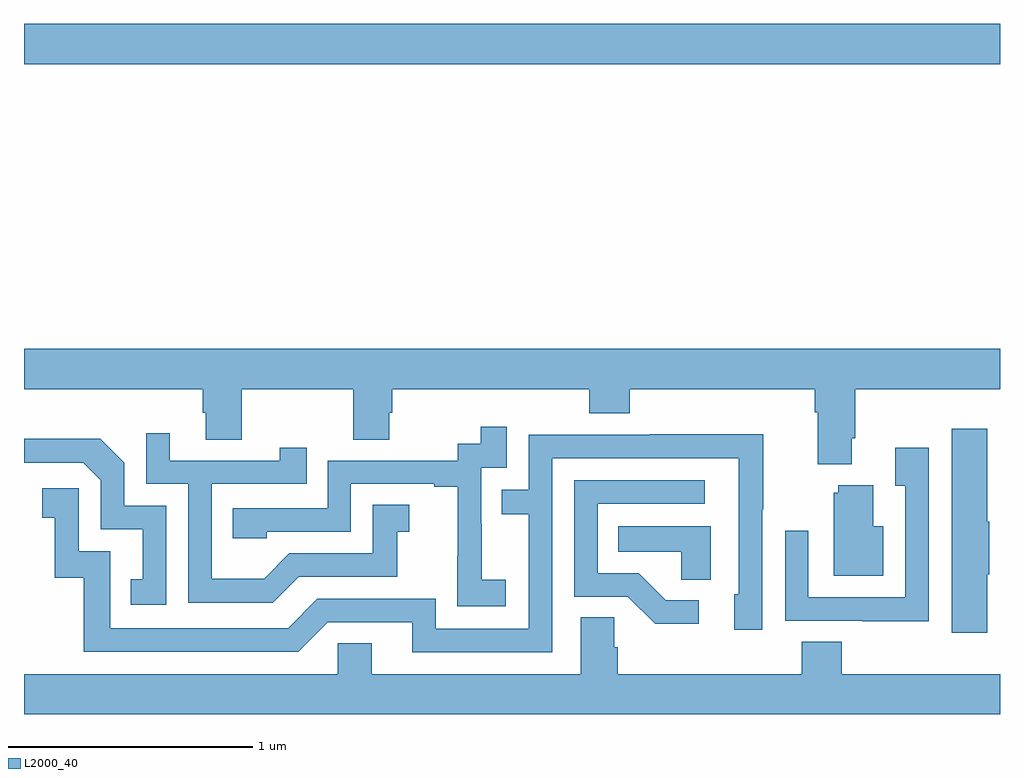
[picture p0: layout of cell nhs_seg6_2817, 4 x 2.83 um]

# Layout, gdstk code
import gdstk
lib = gdstk.Library(unit=1e-6, precision=1e-09)
def R(c, l, rs):  # rectangles x0, y0, x1, y1
    for r in rs: c.add(gdstk.rectangle(r[:2], r[2:], *l))
def P(c, l, *ps):  # polygons
    for p in ps: c.add(gdstk.Polygon(p, *l))
L2000_40 = (2000, 40)

nhs_seg6_2817 = lib.new_cell('nhs_seg6_2817')
R(nhs_seg6_2817, L2000_40, [(277,952.664,281,952.828)])
P(nhs_seg6_2817, L2000_40, [(280.393,951.13),(280.406,951.13),(280.406,951.332),(281,951.332),(281,951.496),(277,951.496),(277,951.332),(277.733,951.332),(277.733,951.234),(277.745,951.234),(277.745,951.124),(277.893,951.124),(277.893,951.332),(278.35,951.332),(278.35,951.124),(278.497,951.124),(278.497,951.234),(278.51,951.234),(278.51,951.332),(279.317,951.332),(279.317,951.233),(279.482,951.233),(279.482,951.332),(280.241,951.332),(280.241,951.236),(280.253,951.236),(280.253,951.023),(280.393,951.023)],
  [(278.974,950.551),(278.876,950.551),(278.876,950.78),(278.874,950.78),(278.874,951.009),(278.979,951.009),(278.979,951.178),(278.871,951.178),(278.871,951.108),(278.778,951.108),(278.778,951.039),(278.244,951.039),(278.244,950.844),(277.855,950.844),(277.855,950.721),(277.995,950.721),(277.995,950.748),(278.34,950.748),(278.34,950.943),(278.681,950.943),(278.681,950.931),(278.777,950.931),(278.777,950.647),(278.776,950.647),(278.776,950.441),(278.974,950.441)],
  [(280.948,950.572),(280.956,950.572),(280.956,950.789),(280.948,950.789),(280.948,951.169),(280.802,951.169),(280.802,950.334),(280.948,950.334)],
  [(278.125,950.562),(278.529,950.562),(278.529,950.747),(278.578,950.747),(278.578,950.857),(278.43,950.857),(278.43,950.658),(278.088,950.658),(277.984,950.554),(277.77,950.554),(277.77,950.943),(278.159,950.943),(278.159,951.091),(278.048,951.091),(278.048,951.039),(277.597,951.039),(277.597,951.151),(277.5,951.151),(277.5,950.943),(277.674,950.943),(277.674,950.457),(278.02,950.457)],
  [(279.165,951.048),(279.93,951.048),(279.93,950.49),(279.911,950.49),(279.911,950.346),(280.026,950.346),(280.026,950.839),(280.029,950.839),(280.029,951.146),(279.565,951.146),(279.565,951.144),(279.069,951.144),(279.069,950.919),(278.959,950.919),(278.959,950.818),(279.069,950.818),(279.069,950.349),(278.688,950.349),(278.688,950.472),(278.202,950.472),(278.082,950.352),(277.353,950.352),(277.353,950.667),(277.224,950.667),(277.224,950.926),(277.074,950.926),(277.074,950.805),(277.127,950.805),(277.127,950.559),(277.245,950.559),(277.245,950.256),(278.124,950.256),(278.244,950.376),(278.591,950.376),(278.591,950.253),(279.165,950.253)],
  [(277.584,950.853),(277.41,950.853),(277.41,951.03),(277.312,951.128),(277,951.128),(277,951.03),(277.242,951.03),(277.314,950.958),(277.314,950.757),(277.487,950.757),(277.487,950.553),(277.438,950.553),(277.438,950.448),(277.584,950.448)],
  [(280.707,951.091),(280.571,951.091),(280.571,950.935),(280.611,950.935),(280.611,950.478),(280.215,950.478),(280.215,950.752),(280.119,950.752),(280.119,950.382),(280.435,950.382),(280.435,950.381),(280.707,950.381)],
  [(279.766,950.466),(279.631,950.466),(279.52,950.577),(279.351,950.577),(279.351,950.862),(279.79,950.862),(279.79,950.958),(279.255,950.958),(279.255,950.481),(279.474,950.481),(279.587,950.369),(279.766,950.369)],
  [(280.522,950.77),(280.48,950.77),(280.48,950.938),(280.337,950.938),(280.337,950.907),(280.319,950.907),(280.319,950.567),(280.522,950.567)],
  [(279.814,950.77),(279.436,950.77),(279.436,950.666),(279.693,950.666),(279.693,950.551),(279.814,950.551)],
  [(281,950.164),(280.352,950.164),(280.352,950.297),(280.187,950.297),(280.187,950.164),(279.434,950.164),(279.434,950.273),(279.42,950.273),(279.42,950.396),(279.281,950.396),(279.281,950.164),(278.425,950.164),(278.425,950.291),(278.286,950.291),(278.286,950.164),(277,950.164),(277,950),(281,950)])

lib.write_gds('nhs_seg6_2817.gds')
